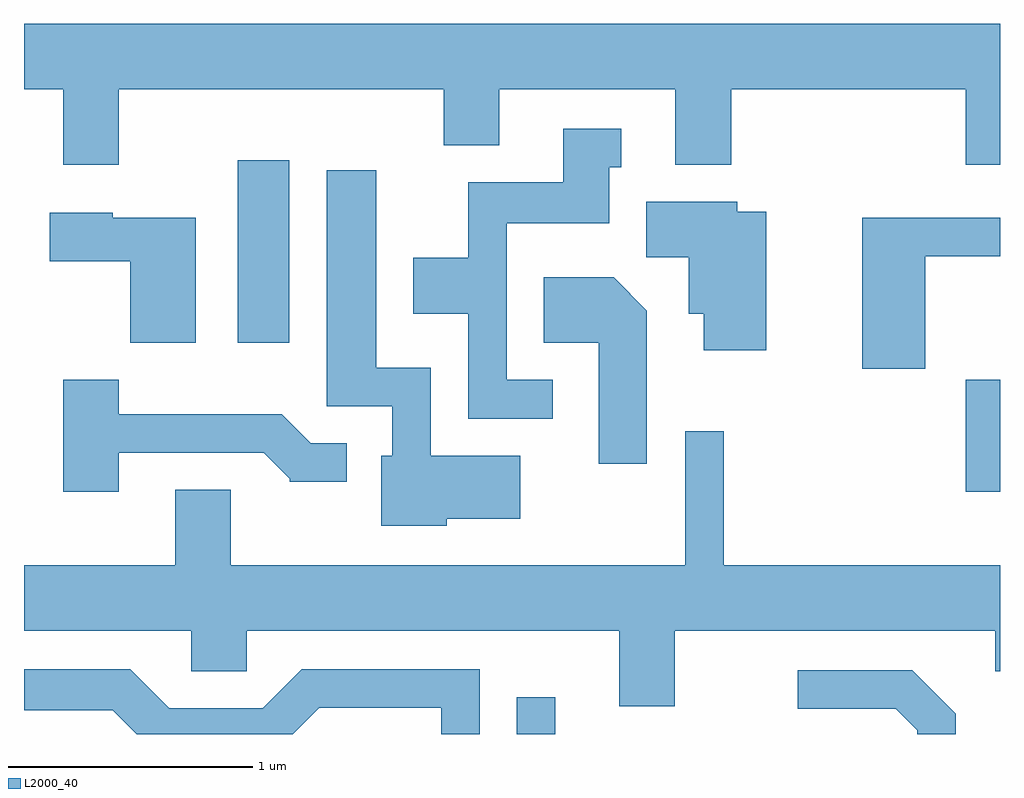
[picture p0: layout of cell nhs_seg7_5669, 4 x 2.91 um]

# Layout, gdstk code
import gdstk
lib = gdstk.Library(unit=1e-6, precision=1e-09)
def R(c, l, rs):  # rectangles x0, y0, x1, y1
    for r in rs: c.add(gdstk.rectangle(r[:2], r[2:], *l))
def P(c, l, *ps):  # polygons
    for p in ps: c.add(gdstk.Polygon(p, *l))
L2000_40 = (2000, 40)

nhs_seg7_5669 = lib.new_cell('nhs_seg7_5669')
R(nhs_seg7_5669, L2000_40, [(359.631,1798.252,359.789,1798.403), (361.471,1799.246,361.611,1799.704), (358.486,1799.856,358.699,1800.604)])
P(nhs_seg7_5669, L2000_40, [(357.999,1800.896),(359.331,1800.896),(359.331,1800.666),(359.559,1800.666),(359.559,1800.896),(360.281,1800.896),(360.281,1800.586),(360.509,1800.586),(360.509,1800.896),(361.471,1800.896),(361.471,1800.586),(361.611,1800.586),(361.611,1801.164),(357.611,1801.164),(357.611,1800.896),(357.771,1800.896),(357.771,1800.586),(357.999,1800.586)],
  [(359.778,1799.704),(359.589,1799.704),(359.589,1800.346),(360.009,1800.346),(360.009,1800.576),(360.058,1800.576),(360.058,1800.734),(359.821,1800.734),(359.821,1800.514),(359.431,1800.514),(359.431,1800.204),(359.206,1800.204),(359.206,1799.976),(359.431,1799.976),(359.431,1799.546),(359.778,1799.546)],
  [(359.344,1799.136),(359.644,1799.136),(359.644,1799.394),(359.279,1799.394),(359.279,1799.754),(359.054,1799.754),(359.054,1800.564),(358.851,1800.564),(358.851,1799.596),(359.121,1799.596),(359.121,1799.394),(359.076,1799.394),(359.076,1799.106),(359.344,1799.106)],
  [(360.654,1800.394),(360.534,1800.394),(360.534,1800.434),(360.161,1800.434),(360.161,1800.206),(360.336,1800.206),(360.336,1799.976),(360.396,1799.976),(360.396,1799.826),(360.654,1799.826)],
  [(358.314,1800.369),(357.974,1800.369),(357.974,1800.389),(357.716,1800.389),(357.716,1800.191),(358.046,1800.191),(358.046,1799.856),(358.314,1799.856)],
  [(361.304,1800.211),(361.611,1800.211),(361.611,1800.369),(361.046,1800.369),(361.046,1799.751),(361.304,1799.751)],
  [(360.164,1799.987),(360.027,1800.124),(359.741,1800.124),(359.741,1799.856),(359.966,1799.856),(359.966,1799.361),(360.164,1799.361)],
  [(357.999,1799.406),(358.594,1799.406),(358.7,1799.3),(358.7,1799.286),(358.933,1799.286),(358.933,1799.444),(358.787,1799.444),(358.667,1799.564),(357.999,1799.564),(357.999,1799.704),(357.771,1799.704),(357.771,1799.246),(357.999,1799.246)],
  [(358.459,1799.254),(358.231,1799.254),(358.231,1798.944),(357.611,1798.944),(357.611,1798.676),(358.296,1798.676),(358.296,1798.511),(358.524,1798.511),(358.524,1798.676),(360.051,1798.676),(360.051,1798.366),(360.279,1798.366),(360.279,1798.676),(361.591,1798.676),(361.591,1798.511),(361.611,1798.511),(361.611,1798.944),(360.479,1798.944),(360.479,1799.493),(360.321,1799.493),(360.321,1798.944),(358.459,1798.944)],
  [(358.822,1798.361),(359.321,1798.361),(359.321,1798.252),(359.479,1798.252),(359.479,1798.519),(358.749,1798.519),(358.589,1798.359),(358.207,1798.359),(358.047,1798.519),(357.611,1798.519),(357.611,1798.351),(357.974,1798.351),(358.073,1798.252),(358.713,1798.252)],
  [(361.429,1798.337),(361.252,1798.514),(360.783,1798.514),(360.783,1798.356),(361.184,1798.356),(361.271,1798.269),(361.271,1798.252),(361.429,1798.252)])

lib.write_gds('nhs_seg7_5669.gds')
